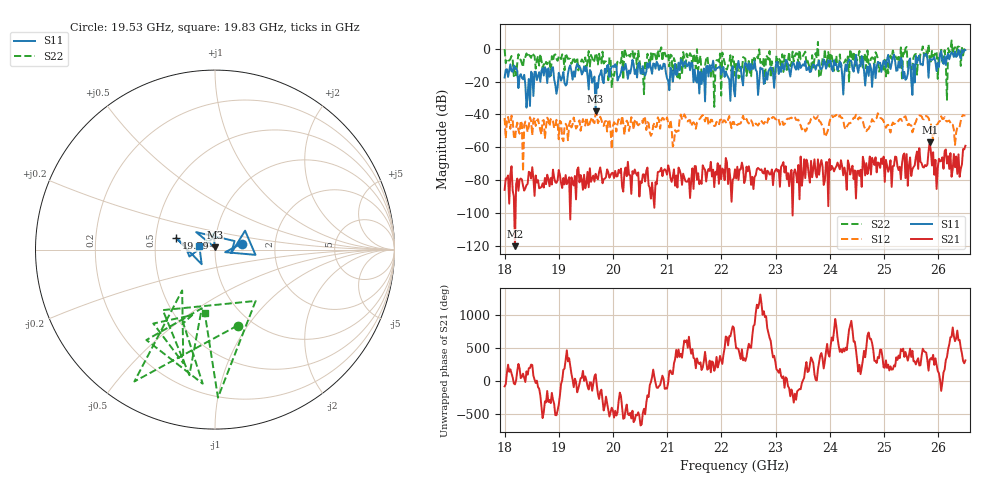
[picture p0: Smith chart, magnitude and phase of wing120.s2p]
!Keysight Technologies,N5242B,MY47200105,A.14.00.23
!Date: Friday, May 10, 2024 11:03:57
!Correction: S11(C  2-Port  )
!S21(C  2-Port  )
!S12(C  2-Port  )
!S22(C  2-Port  )
!S2P File: Measurement: :
# Hz S  RI  R 50
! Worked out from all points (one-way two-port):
!   401 points, 18 GHz to 26.5 GHz, reference 50 ohm
!   highest |S21| = -56.87 dB at 25.84 GHz (marker M1); lowest = -120.4 dB at 18.19 GHz (marker M2)
!   lowest |S11| = -38.0 dB at 19.68 GHz (marker M3), VSWR 1.03, Z = 49.8 + j1.25 ohm
!   |S11| at or under -10 dB: 18.11 GHz to 19.21 GHz (1.101 GHz wide, 5.9 % of centre); 19.35 GHz to 19.9 GHz (549.3 MHz wide, 2.8 % of centre); 21.86 GHz to 22.3 GHz (439.4 MHz wide, 1.99 % of centre) (the widest 3 of 61)
!   |S22| runs from -35.4 to 5.2 dB; largest |S21 - S12| = 0.011
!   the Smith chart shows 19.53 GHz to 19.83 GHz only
!   S11 on the Smith chart (normalised r, x): 19.53 GHz: 1.35, +0.09; 19.79 GHz: 0.64, +0.09; 19.83 GHz: 0.84, +0.04
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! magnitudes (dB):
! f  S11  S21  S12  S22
! 18 GHz  -17.4  -86.0  -42.2  -0.1
! 18.19 GHz  -12.1  -120.4  -55.2  -10.6
! 18.43 GHz  -27.6  -82.3  -50.8  -4.9
! 18.72 GHz  -16.2  -84.6  -43.5  -9.3
! 19.42 GHz  -15.6  -79.7  -46.0  -6.4
! 19.53 GHz  -16.3  -75.0  -45.1  -7.1
! 19.68 GHz  -38.0  -76.2  -39.3  -2.5
! 19.79 GHz  -12.9  -76.3  -43.1  -8.8
! 19.83 GHz  -20.9  -79.5  -47.0  -8.9
! 20.02 GHz  -11.1  -78.8  -44.7  -16.5
! 20.38 GHz  -9.3  -76.1  -49.2  -6.6
! 20.55 GHz  -10.4  -76.6  -45.2  -13.7
! 20.85 GHz  -12.8  -74.9  -43.5  -4.6
! 21.23 GHz  -13.0  -73.9  -42.3  -18.1
! 21.4 GHz  -8.1  -79.0  -43.5  -4.4
! 21.85 GHz  -7.2  -73.7  -45.8  -8.8
! 22.25 GHz  -29.0  -73.5  -47.3  -16.3
! 23.67 GHz  -10.6  -78.3  -41.4  -3.8
! 25.1 GHz  -8.6  -72.5  -48.8  -5.9
! 25.84 GHz  -6.4  -56.9  -44.3  -5.8
! 26.39 GHz  -3.6  -78.0  -47.4  1.1
! 26.5 GHz  -0.7  -59.1  -40.6  0.7
